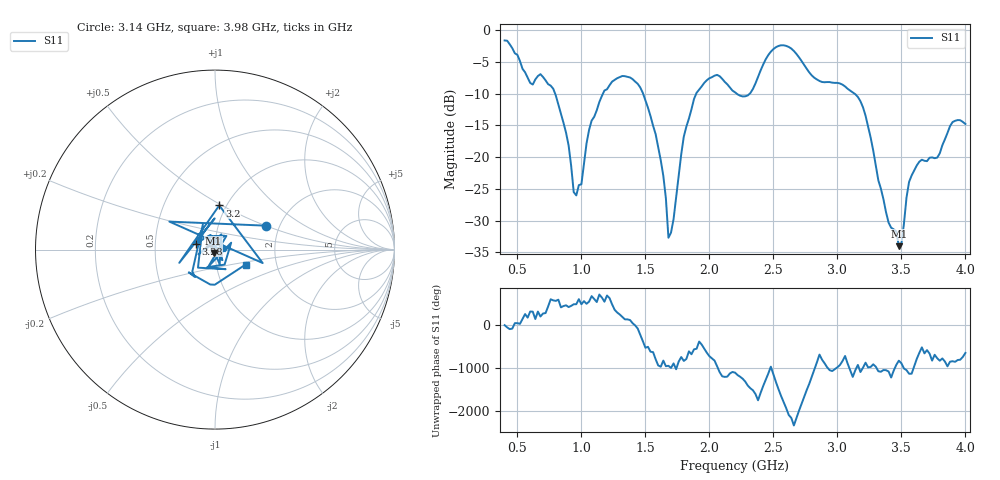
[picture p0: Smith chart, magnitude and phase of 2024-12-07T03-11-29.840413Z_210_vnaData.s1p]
!Created with skrf (http://scikit-rf.org).
# Hz S RI R 50.0
!freq ReS11 ImS11
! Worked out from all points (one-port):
!   181 points, 400 MHz to 4 GHz, reference 50 ohm
!   lowest |S11| = -34.0 dB at 3.48 GHz (marker M1), VSWR 1.04, Z = 49.2 - j1.8 ohm
!   |S11| at or under -10 dB: 794.9 MHz to 1.168 GHz (373.1 MHz wide, 38 % of centre); 1.482 GHz to 1.897 GHz (414.5 MHz wide, 24.5 % of centre); 3.135 GHz to end of sweep (the widest 3 of 4)
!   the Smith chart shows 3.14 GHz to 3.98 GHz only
!   S11 on the Smith chart (normalised r, x): 3.14 GHz: 1.70, +0.50; 3.2 GHz: 0.93, +0.49; 3.28 GHz: 0.80, +0.05; 3.98 GHz: 1.39, -0.24
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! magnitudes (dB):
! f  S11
! 400 MHz  -1.6
! 600 MHz  -8.3
! 780 MHz  -9.2
! 860 MHz  -14.6
! 960 MHz  -26.0
! 1.08 GHz  -14.2
! 1.3 GHz  -7.4
! 1.44 GHz  -8.4
! 1.54 GHz  -13.5
! 1.64 GHz  -23.0
! 1.68 GHz  -32.7
! 1.76 GHz  -23.0
! 1.8 GHz  -16.8
! 1.9 GHz  -9.8
! 2.06 GHz  -7.0
! 2.2 GHz  -9.8
! 2.32 GHz  -9.9
! 2.52 GHz  -2.7
! 2.66 GHz  -3.3
! 3.1 GHz  -9.5
! 3.14 GHz  -10.1
! 3.2 GHz  -12.1
! 3.28 GHz  -19.0
! 3.4 GHz  -30.3
! 3.48 GHz  -34.0
! 3.56 GHz  -23.9
! 3.98 GHz  -14.4
! 4 GHz  -14.8
